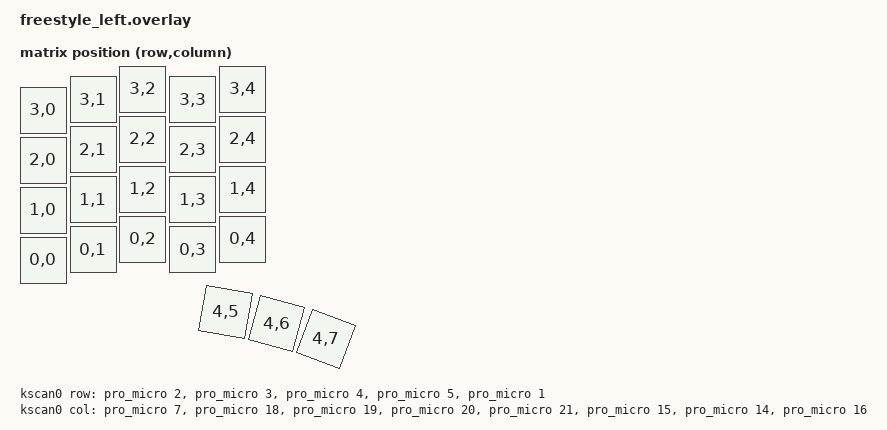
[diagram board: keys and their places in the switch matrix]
#include <dt-bindings/zmk/matrix_transform.h>
#include <physical_layouts.dtsi>
#include <zephyr/dt-bindings/gpio/gpio.h>

/ {
    chosen {
        zmk,physical-layout = &default_layout;
    };

    kscan0: kscan0 {
        compatible = "zmk,kscan-gpio-matrix";
        diode-direction = "row2col";
        wakeup-source;

        /*
         * Pins taken from Freestyle_L.kicad_pcb (net names P1, P2, ... match
         * the &pro_micro numbers).
         *
         * Columns (switch pin 1):  pinky P7, ring P18, middle P19, index P20,
         *                          inner P21, thumbs P15 / P14 / P16
         * Rows (diode pad 1):      bottom P2, home P3, top P4, upper P5,
         *                          thumb row P1
         *
         * row2col: the diode stripes (cathodes) face the switch, toward the
         * top of the board. Pull-downs go on the columns, which are the inputs.
         * (For stripes facing away from the switch, use col2row with the
         * pull-downs on the rows instead.)
         */
        col-gpios =
            <&pro_micro 7  (GPIO_ACTIVE_HIGH | GPIO_PULL_DOWN)>,   /* col 0: pinky  */
            <&pro_micro 18 (GPIO_ACTIVE_HIGH | GPIO_PULL_DOWN)>,   /* col 1: ring   */
            <&pro_micro 19 (GPIO_ACTIVE_HIGH | GPIO_PULL_DOWN)>,   /* col 2: middle */
            <&pro_micro 20 (GPIO_ACTIVE_HIGH | GPIO_PULL_DOWN)>,   /* col 3: index  */
            <&pro_micro 21 (GPIO_ACTIVE_HIGH | GPIO_PULL_DOWN)>,   /* col 4: inner  */
            <&pro_micro 15 (GPIO_ACTIVE_HIGH | GPIO_PULL_DOWN)>,   /* col 5: thumb 1 (left)   */
            <&pro_micro 14 (GPIO_ACTIVE_HIGH | GPIO_PULL_DOWN)>,   /* col 6: thumb 2 (middle) */
            <&pro_micro 16 (GPIO_ACTIVE_HIGH | GPIO_PULL_DOWN)>;   /* col 7: thumb 3 (right)  */

        row-gpios =
            <&pro_micro 2 GPIO_ACTIVE_HIGH>,   /* row 0: bottom */
            <&pro_micro 3 GPIO_ACTIVE_HIGH>,   /* row 1: home   */
            <&pro_micro 4 GPIO_ACTIVE_HIGH>,   /* row 2: top    */
            <&pro_micro 5 GPIO_ACTIVE_HIGH>,   /* row 3: upper  */
            <&pro_micro 1 GPIO_ACTIVE_HIGH>;   /* row 4: thumbs */
    };

    default_transform: keymap_transform {
        compatible = "zmk,matrix-transform";
        columns = <8>;
        rows = <5>;

        /* Reads top row to bottom row, left to right, then the 3 thumb keys */
        map = <
            RC(3,0) RC(3,1) RC(3,2) RC(3,3) RC(3,4)
            RC(2,0) RC(2,1) RC(2,2) RC(2,3) RC(2,4)
            RC(1,0) RC(1,1) RC(1,2) RC(1,3) RC(1,4)
            RC(0,0) RC(0,1) RC(0,2) RC(0,3) RC(0,4)
            RC(4,5) RC(4,6) RC(4,7)
        >;
    };

    /* Physical key positions for ZMK Studio, in the same order as the map
       above (units: 1/100 of a key; w h x y rot rx ry). Positions come from
       the switch coordinates in the PCB file. */
    default_layout: default_layout {
        compatible = "zmk,physical-layout";
        display-name = "Freestyle Left";
        transform = <&default_transform>;
        kscan = <&kscan0>;

        keys  // w   h    x    y   rot   rx   ry
            = <&key_physical_attrs 100 100    0   42     0   50   92>   /* S4 */
            , <&key_physical_attrs 100 100  100   21     0  150   71>   /* S8 */
            , <&key_physical_attrs 100 100  199    0     0  249   50>   /* S12 */
            , <&key_physical_attrs 100 100  299   21     0  349   71>   /* S16 */
            , <&key_physical_attrs 100 100  399    0     0  449   50>   /* S20 */
            , <&key_physical_attrs 100 100    0  142     0   50  192>   /* S3 */
            , <&key_physical_attrs 100 100  100  121     0  150  171>   /* S7 */
            , <&key_physical_attrs 100 100  199  100     0  249  150>   /* S11 */
            , <&key_physical_attrs 100 100  299  121     0  349  171>   /* S15 */
            , <&key_physical_attrs 100 100  399  100     0  449  150>   /* S19 */
            , <&key_physical_attrs 100 100    0  242     0   50  292>   /* S2 */
            , <&key_physical_attrs 100 100  100  221     0  150  271>   /* S6 */
            , <&key_physical_attrs 100 100  199  200     0  249  250>   /* S10 */
            , <&key_physical_attrs 100 100  299  221     0  349  271>   /* S14 */
            , <&key_physical_attrs 100 100  399  200     0  449  250>   /* S18 */
            , <&key_physical_attrs 100 100    0  342     0   50  392>   /* S1 */
            , <&key_physical_attrs 100 100  100  321     0  150  371>   /* S5 */
            , <&key_physical_attrs 100 100  199  300     0  249  350>   /* S9 */
            , <&key_physical_attrs 100 100  299  321     0  349  371>   /* S13 */
            , <&key_physical_attrs 100 100  399  300     0  449  350>   /* S17 */
            , <&key_physical_attrs 100 100  365  446  1000  415  496>   /* S21 */
            , <&key_physical_attrs 100 100  467  469  1500  517  519>   /* S22 */
            , <&key_physical_attrs 100 100  566  500  2000  616  550>   /* S23 */
        ;
    };
};
